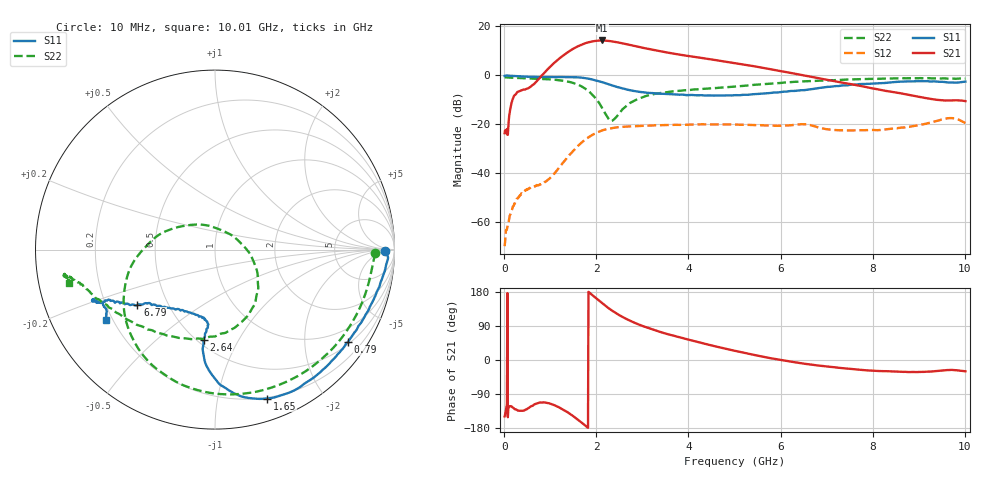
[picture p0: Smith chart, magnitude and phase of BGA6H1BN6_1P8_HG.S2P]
!Agilent Technologies,E5071C,MY46317100,A.11.08
!Date: Wed Jun 03 12:54:55 2015
!Data & Calibration Information:
!Freq	S11:SOLT2(ON)	S21:SOLT2(ON)	S12:SOLT2(ON)	S22:SOLT2(ON)
!PortZ  Port1:50+j0  Port2:50+j0
!Above PortZ is port z conversion or system Z0 setting when saving the data.
!When reading, reference impedance value at option line is always used.
# Hz S RI R 50
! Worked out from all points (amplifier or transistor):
!   1001 points, 10 MHz to 10.01 GHz, reference 50 ohm
!   highest |S21| = 14.0 dB at 2.13 GHz (marker M1)
!   |S21| within 3 dB of that: 1.537 GHz to 3.011 GHz (1.474 GHz wide, 64.8 % of centre)
!   unconditionally stable (mu >= 1): start of sweep to 1.754 GHz; 2.344 GHz to end of sweep
!   at 1.67 GHz: K = 1.04, MAG = 18.9 dB, |S12| = -27.9 dB
!   at 5.01 GHz: K = 1.65, MAG = 7.8 dB, |S12| = -20.3 dB
!   at 10.01 GHz: K = 1.93, MAG = -1.1 dB, |S12| = -19.7 dB
!   lowest NFmin = 0.58 dB at 1.8 GHz
!   S11 on the Smith chart (normalised r, x): 10 MHz: 38, -6; 790 MHz: 0.56, -3.09; 1.65 GHz: 0.19, -1.39; 2.64 GHz: 0.54, -0.73; 6.79 GHz: 0.33, -0.29; 10.01 GHz: 0.17, -0.29
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1e7  0.9498 -0.00727  -0.055 -0.0331  -0.00027 0.000163  0.8924 -0.0201
2.7e8  0.9108 -0.2165  -0.279 -0.3182  -0.000328 0.00287  0.7818 -0.3745
5.4e8  0.8267 -0.3859  -0.3184 -0.4395  -0.000339 0.00473  0.5532 -0.6429
7.9e8  0.7393 -0.5155  -0.3405 -0.8388  -0.00177 0.00547  0.2829 -0.7788
1.07e9  0.6299 -0.6426  -0.7998 -1.492  -0.00674 0.00628  -0.0384 -0.7963
1.34e9  0.4956 -0.7483  -1.928 -1.914  -0.016 0.0101  -0.3277 -0.6626
1.5e9  0.4006 -0.8014  -2.898 -1.793  -0.0233 0.0158  -0.4526 -0.5072
1.65e9  0.2915 -0.8299  -3.825 -1.23  -0.0298 0.025  -0.5083 -0.318
1.68e9  0.2697 -0.8316  -3.992 -1.073  -0.0308 0.0273  -0.5091 -0.2771
1.91e9  0.0999 -0.7973  -4.748 0.7062  -0.033 0.0488  -0.3936 0.00761
2.13e9  -0.01 -0.7059  -4.334 2.554  -0.0243 0.0693  -0.1556 0.1349
2.36e9  -0.0621 -0.594  -3.001 3.724  -0.00753 0.0818  0.0758 0.09
2.64e9  -0.0634 -0.5019  -1.385 4.018  0.0116 0.0865  0.2158 -0.0682
2.96e9  -0.0473 -0.4426  -0.1046 3.647  0.0273 0.0859  0.2358 -0.2377
3.35e9  -0.0408 -0.4113  0.777 2.98  0.0415 0.0835  0.1675 -0.3845
4.15e9  -0.0751 -0.3736  1.512 1.747  0.0607 0.0756  -0.0751 -0.497
5.01e9  -0.1691 -0.3451  1.575 0.7096  0.0722 0.0634  -0.364 -0.4469
5.78e9  -0.2807 -0.3189  1.295 0.1083  0.0734 0.0546  -0.5662 -0.3348
6.68e9  -0.4075 -0.3064  0.8846 -0.1934  0.0825 0.0413  -0.7138 -0.2214
6.79e9  -0.4325 -0.3079  0.8388 -0.2129  0.0772 0.0366  -0.7239 -0.2078
8.35e9  -0.6315 -0.2942  0.3979 -0.2279  0.0501 0.06  -0.8255 -0.1472
1.001e10  -0.6096 -0.394  0.252 -0.1443  0.0872 0.0556  -0.8157 -0.1867
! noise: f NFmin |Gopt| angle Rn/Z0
1.8e+09  0.5801  0.6047  53.98  0.1701
1.9e+09  0.6177  0.5985  56.92  0.1705
2e+09  0.6367  0.574  58.59  0.1702
2.1e+09  0.6646  0.5539  60.08  0.1766
2.2e+09  0.6845  0.5401  63.34  0.1755
2.3e+09  0.6994  0.5365  65.29  0.1648
2.4e+09  0.7058  0.5314  67.62  0.1634
2.5e+09  0.7152  0.5225  70.03  0.1623
2.6e+09  0.7357  0.5198  72.68  0.1547
2.7e+09  0.7503  0.512  73.92  0.1587
